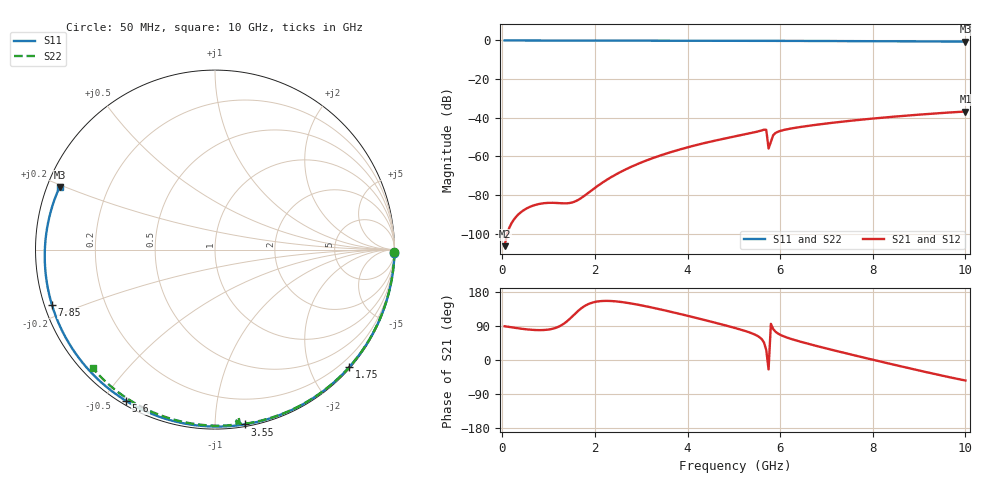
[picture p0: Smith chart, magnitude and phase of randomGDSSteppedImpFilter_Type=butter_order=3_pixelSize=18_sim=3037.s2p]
! freq	dB(S11)	phase(S11)	dB(S12)	phase(S12)
!  dB(S21)	phase(S21)	dB(S22)	phase(S22)
!S-par simulation data
#  GHz  S  DB  R 50
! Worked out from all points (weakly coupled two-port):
!   200 points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, 50 MHz to 10 GHz, reference 50 ohm
!   highest |S21| = -36.78 dB at 10 GHz (marker M1); lowest = -106.4 dB at 50 MHz (marker M2)
!   lowest |S11| = -0.6 dB at 10 GHz (marker M3), VSWR 29.07, Z = 1.78 + j9.69 ohm
!   |S11| at or under -10 dB: nowhere
!   |S22| runs from -0.5 to 0.0 dB; largest |S21 - S12| = 0
!   S11 on the Smith chart (normalised r, x): 50 MHz: 0, -95; 1.75 GHz: 0.02, -2.66; 3.55 GHz: 0.01, -1.18; 5.6 GHz: 0.01, -0.57; 7.85 GHz: 0.02, -0.16; 10 GHz: 0.04, +0.19
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0.05  -0.00 -1.2  -106.41 89.1  -106.41 89.1  -0.00 -0.8
0.85  -0.03 -20.3  -84.34 78.9  -84.34 78.9  -0.02 -13.0
1.75  -0.05 -41.2  -80.74 140.2  -80.74 140.2  -0.03 -26.6
1.8  -0.05 -42.3  -79.87 144.0  -79.87 144.0  -0.03 -27.3
2.2  -0.07 -51.3  -72.95 156.0  -72.95 156.0  -0.04 -33.2
2.55  -0.08 -59.1  -68.07 153.4  -68.07 153.4  -0.05 -38.4
2.95  -0.09 -67.7  -63.63 145.4  -63.63 145.4  -0.06 -44.2
3.4  -0.10 -77.2  -59.60 133.9  -59.60 133.9  -0.07 -50.6
3.55  -0.11 -80.3  -58.43 129.8  -58.43 129.8  -0.07 -52.7
4.3  -0.13 -95.5  -53.46 107.6  -53.46 107.6  -0.09 -63.2
5.05  -0.17 -110.0  -49.50 83.6  -49.50 83.6  -0.11 -73.4
5.6  -0.19 -120.4  -46.54 55.4  -46.54 55.4  -0.16 -81.1
5.7  -0.20 -122.3  -46.24 26.2  -46.24 26.2  -0.30 -83.0
5.75  -0.21 -123.2  -55.89 -24.9  -55.89 -24.9  -0.51 -82.0
5.85  -0.21 -125.0  -48.98 81.7  -48.98 81.7  -0.19 -82.9
5.9  -0.21 -125.9  -47.84 74.6  -47.84 74.6  -0.17 -83.7
6.15  -0.23 -130.5  -45.93 59.1  -45.93 59.1  -0.16 -87.3
6.7  -0.27 -140.5  -43.87 39.8  -43.87 39.8  -0.18 -94.3
7.85  -0.36 -161.3  -40.74 5.1  -40.74 5.1  -0.25 -108.5
8.35  -0.41 -170.4  -39.64 -9.4  -39.64 -9.4  -0.29 -114.6
9.2  -0.50 173.7  -38.02 -33.2  -38.02 -33.2  -0.36 -125.0
10  -0.60 158.0  -36.78 -54.1  -36.78 -54.1  -0.47 -136.0
